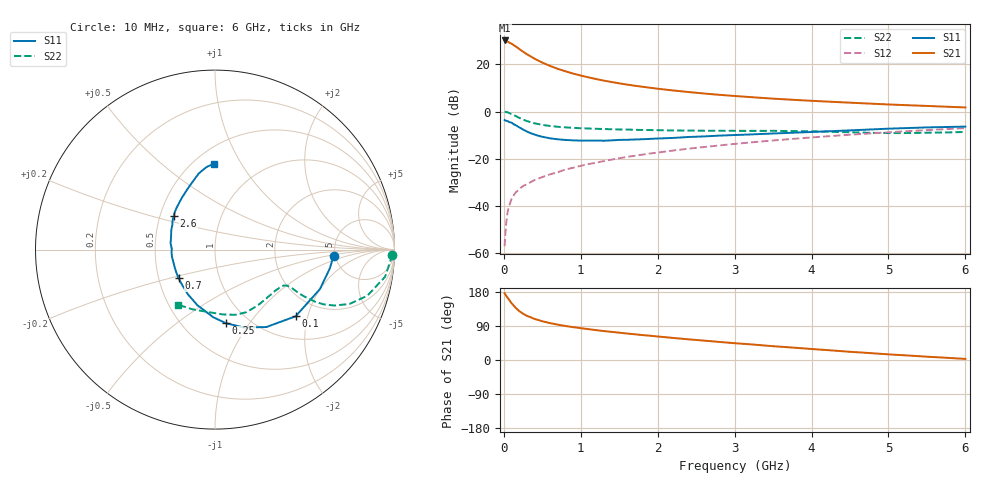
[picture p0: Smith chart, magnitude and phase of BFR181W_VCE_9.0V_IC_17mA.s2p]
! Infineon Technologies  Discrete & RF Semiconductors
! BFR181W
! VCE =  9.0 V,  IC =  17 mA
! Common Emitter S-Parameters:  Jan 2017
# GHz  S  MA  R  50
!  f  S11  S21  S12  S22
! GHz  MAG  ANG  MAG  ANG  MAG  ANG  MAG  ANG
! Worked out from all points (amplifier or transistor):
!   77 points, 10 MHz to 6 GHz, reference 50 ohm
!   highest |S21| = 30.1 dB at 10 MHz (marker M1)
!   |S21| within 3 dB of that: start of sweep to 174.2 MHz
!   unconditionally stable (mu >= 1): 853.9 MHz to 2.771 GHz
!   at 130 MHz: K = 0.36, MSG = 31.8 dB, |S12| = -35.4 dB
!   at 2.2 GHz: K = 1.04, MAG = 11.5 dB, |S12| = -16.5 dB
!   at 6 GHz: K = 0.84, MSG = 4.4 dB, |S12| = -7.0 dB
!   S11 on the Smith chart (normalised r, x): 10 MHz: 4.84, -0.60; 100 MHz: 1.50, -1.68; 250 MHz: 0.79, -0.78; 700 MHz: 0.63, -0.22; 2.6 GHz: 0.59, +0.24; 6 GHz: 0.62, +0.77
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0.01  0.6619 -3.0  32.09 176.2  0.0014 92.5  0.9858 -1.6
0.02  0.6482 -9.3  31.37 172.6  0.0026 89.3  0.9807 -3.4
0.05  0.6247 -20.6  30.35 163.9  0.0075 78.5  0.9598 -9.1
0.1  0.583 -39.6  27.52 149.8  0.0138 73.1  0.8871 -16.8
0.15  0.5179 -56.4  24.29 138.4  0.0189 69.1  0.8083 -22.0
0.2  0.4626 -69.7  21.15 129.2  0.0226 66.7  0.7348 -25.1
0.25  0.4144 -81.6  18.57 122.1  0.0264 64.6  0.6758 -26.8
0.3  0.3769 -91.5  16.36 116.5  0.0287 64.2  0.6275 -27.5
0.4  0.3244 -107.8  13.15 108.2  0.0353 65.2  0.5628 -27.7
0.5  0.2917 -120.9  10.88 102.2  0.0407 65.8  0.521 -27.4
0.6  0.2703 -132.0  9.271 97.4  0.0467 66.7  0.4946 -26.9
0.7  0.2579 -141.7  8.052 93.4  0.0518 68.0  0.4752 -26.5
0.9  0.2447 -157.4  6.381 86.7  0.0642 69.2  0.4516 -26.6
1.1  0.2428 -169.6  5.298 81.4  0.0769 70.4  0.4371 -27.3
1.3  0.2406 179.6  4.52 76.4  0.089 70.8  0.4262 -28.7
1.5  0.2504 171.8  3.96 72.1  0.1023 70.4  0.4166 -30.5
2.1  0.2716 152.2  2.918 60.2  0.1419 69.2  0.3993 -38.9
2.6  0.2966 140.6  2.412 51.1  0.1768 67.1  0.3922 -47.7
3.1  0.3218 130.0  2.079 42.9  0.2133 64.2  0.3894 -56.5
4.1  0.3741 113.5  1.657 27.6  0.29 57.3  0.3768 -74.4
5.1  0.4385 100.9  1.391 13.7  0.3709 48.8  0.3494 -99.4
6  0.4795 90.8  1.221 2.9  0.4447 40.4  0.3697 -124.1
